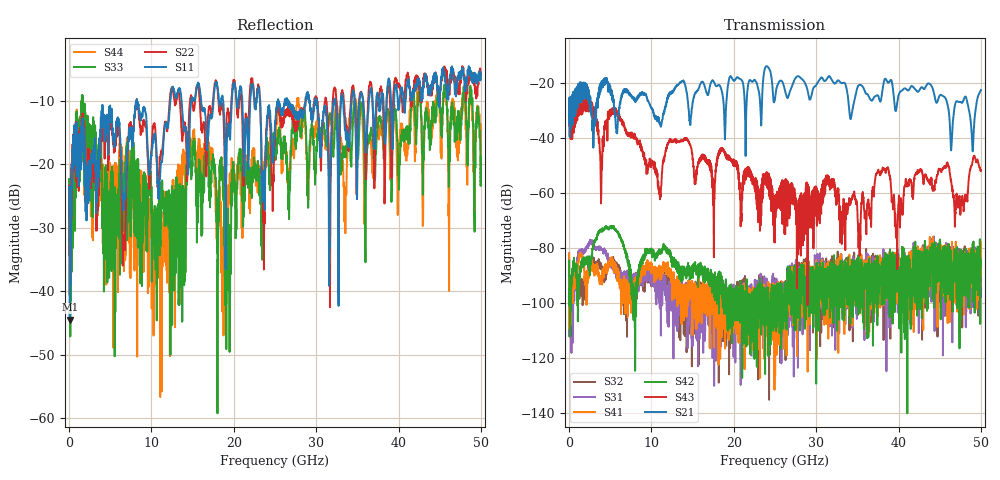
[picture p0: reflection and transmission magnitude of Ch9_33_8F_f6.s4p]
!Agilent Technologies,N5247A,US51170199,A.09.90.13
!Agilent N5247A: A.09.90.13
!Date: Wednesday, December 16, 2015 12:15:56
!Correction: S11(Full 4 Port(1,2,3,4))
!S12(Full 4 Port(1,2,3,4))
!S13(Full 4 Port(1,2,3,4))
!S14(Full 4 Port(1,2,3,4))
!S21(Full 4 Port(1,2,3,4))
!S22(Full 4 Port(1,2,3,4))
!S23(Full 4 Port(1,2,3,4))
!S24(Full 4 Port(1,2,3,4))
!S31(Full 4 Port(1,2,3,4))
!S32(Full 4 Port(1,2,3,4))
!S33(Full 4 Port(1,2,3,4))
!S34(Full 4 Port(1,2,3,4))
!S41(Full 4 Port(1,2,3,4))
!S42(Full 4 Port(1,2,3,4))
!S43(Full 4 Port(1,2,3,4))
!S44(Full 4 Port(1,2,3,4))
!S4P File: Measurements: <S11,S12,S13,S14>,
!<S21,S22,S23,S24>,
!<S31,S32,S33,S34>,
!<S41,S42,S43,S44>:
# Hz S  dB  R 50
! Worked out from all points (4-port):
!   3201 points, 10 MHz to 50 GHz, reference 50 ohm
!   strongest paths, dB at 10 MHz, 12.51 GHz, 25 GHz, 37.5 GHz, 50 GHz:
!     S21: -34.5, -23.5, -25.7, -24.4, -22.4
!     S43: -35.3, -41.5, -61.5, -52.0, -51.7
!     S42: -84.6, -84.4, -96.7, -92.8, -84.2
!     S41: -82.0, -88.8, -102.5, -100.7, -87.0
!     S31: -87.1, -94.8, -94.0, -102.0, -89.0
!     S32: -82.0, -95.5, -99.7, -96.8, -89.9
!   lowest |S11| = -44.5 dB at 88.11 MHz (marker M1), VSWR 1.01, Z = 50.4 + j0.48 ohm
!   |S11| at or under -10 dB: start of sweep to 8.214 GHz; 8.25 GHz to 12.28 GHz (4.032 GHz wide, 39.3 % of centre); 23.19 GHz to 25.35 GHz (2.159 GHz wide, 8.89 % of centre)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
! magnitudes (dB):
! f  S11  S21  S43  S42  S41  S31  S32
! 10 MHz  -23.7  -34.5  -35.3  -84.6  -82.0  -87.1  -82.0
! 88.11 MHz  -44.5  -39.6  -39.1  -101.6  -98.2  -100.1  -99.4
! 18.85 GHz  -13.1  -32.6  -45.0  -102.6  -102.7  -95.0  -101.7
! 35.22 GHz  -10.8  -20.6  -72.9  -86.4  -97.5  -85.0  -101.8
! 38.11 GHz  -8.9  -21.3  -51.0  -89.1  -97.5  -90.8  -94.3
! 39.75 GHz  -7.6  -29.0  -71.7  -92.2  -92.3  -85.4  -89.8
! 50 GHz  -5.7  -22.4  -51.7  -84.2  -87.0  -89.0  -89.9
